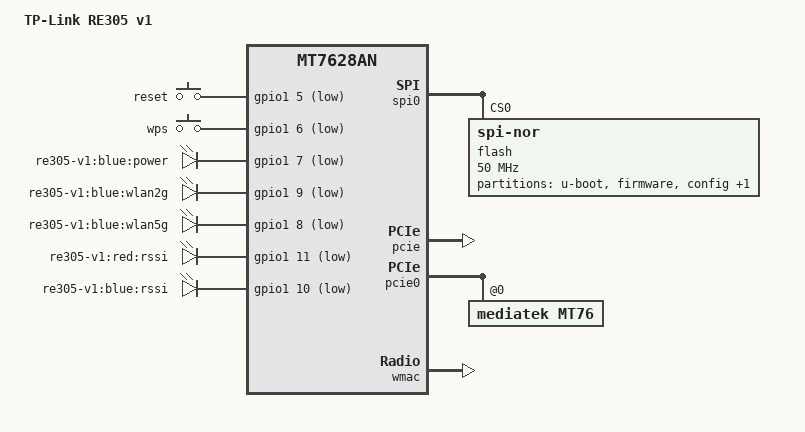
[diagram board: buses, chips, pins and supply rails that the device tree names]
// SPDX-License-Identifier: GPL-2.0-or-later OR MIT
/dts-v1/;

#include "mt7628an.dtsi"

#include <dt-bindings/gpio/gpio.h>
#include <dt-bindings/input/input.h>

/ {
	compatible = "tplink,re305-v1", "mediatek,mt7628an-soc";
	model = "TP-Link RE305 v1";

	aliases {
		led-boot = &led_power;
		led-failsafe = &led_power;
		led-running = &led_power;
		led-upgrade = &led_power;
		label-mac-device = &ethernet;
	};

	chosen {
		bootargs = "console=ttyS0,57600";
	};

	keys {
		compatible = "gpio-keys";

		reset {
			label = "reset";
			gpios = <&gpio1 5 GPIO_ACTIVE_LOW>;
			linux,code = <KEY_RESTART>;
		};

		wps {
			label = "wps";
			gpios = <&gpio1 6 GPIO_ACTIVE_LOW>;
			linux,code = <KEY_WPS_BUTTON>;
		};
	};

	leds {
		compatible = "gpio-leds";

		led_power: power {
			label = "re305-v1:blue:power";
			gpios = <&gpio1 7 GPIO_ACTIVE_LOW>;
		};

		wlan2g {
			label = "re305-v1:blue:wlan2g";
			gpios = <&gpio1 9 GPIO_ACTIVE_LOW>;
			linux,default-trigger = "phy0tpt";
		};

		wlan5g {
			label = "re305-v1:blue:wlan5g";
			gpios = <&gpio1 8 GPIO_ACTIVE_LOW>;
			linux,default-trigger = "phy1tpt";
		};

		rssi1 {
			label = "re305-v1:red:rssi";
			gpios = <&gpio1 11 GPIO_ACTIVE_LOW>;
		};

		rssi2 {
			label = "re305-v1:blue:rssi";
			gpios = <&gpio1 10 GPIO_ACTIVE_LOW>;
		};
	};
};

&spi0 {
	status = "okay";

	flash@0 {
		compatible = "jedec,spi-nor";
		reg = <0>;
		spi-max-frequency = <50000000>;

		partitions {
			compatible = "fixed-partitions";
			#address-cells = <1>;
			#size-cells = <1>;

			partition@0 {
				label = "u-boot";
				reg = <0x0 0x20000>;
				read-only;
			};

			partition@20000 {
				compatible = "tplink,firmware";
				label = "firmware";
				reg = <0x20000 0x5e0000>;
			};

			config: partition@600000 {
				label = "config";
				reg = <0x600000 0x50000>;
				read-only;
			};

			/*
				The flash space between 0x650000 and 0x7f0000 is blank in the
				stock firmware so it is left out as well.
			*/

			radio: partition@7f0000 {
				label = "radio";
				reg = <0x7f0000 0x10000>;
				read-only;
			};
		};
	};
};

&state_default {
	gpio {
		ralink,group = "refclk", "wdt", "p0led_an", "p1led_an", "p2led_an", "p3led_an", "p4led_an";
		ralink,function = "gpio";
	};
};

&pcie {
	status = "okay";
};

&pcie0 {
	mt76@0,0 {
		compatible = "mediatek,mt76";
		reg = <0x0000 0 0 0 0>;
		mediatek,mtd-eeprom = <&radio 0x8000>;
		ieee80211-freq-limit = <5000000 6000000>;
		mtd-mac-address = <&config 0x10008>;
		mtd-mac-address-increment = <2>;
	};
};

&wmac {
	status = "okay";

	mediatek,mtd-eeprom = <&radio 0x0>;
	mtd-mac-address = <&config 0x10008>;
	mtd-mac-address-increment = <1>;
};

&ethernet {
	mtd-mac-address = <&config 0x10008>;
};
